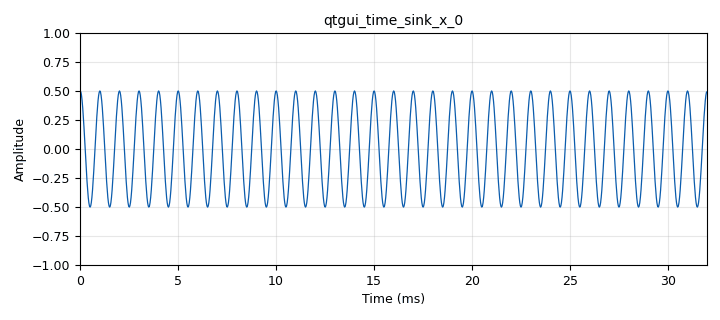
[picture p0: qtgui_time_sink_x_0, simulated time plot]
options:
  parameters:
    author: funki
    generate_options: qt_gui
    id: simple_demo
    output_language: python
    title: This is the window Name
  states: {}

blocks:
- name: freq
  id: variable
  parameters:
    value: '1000'
  states: {state: disabled}
- name: samp_rate
  id: variable
  parameters:
    value: '32000'
  states: {}
- name: analog_sig_source_x_0
  id: analog_sig_source_x
  parameters:
    amp: parameter_amp
    freq: '1000'
    offset: '0'
    phase: '0'
    samp_rate: samp_rate
    type: float
    waveform: analog.GR_COS_WAVE
  states: {}
- name: parameter_amp
  id: parameter
  parameters:
    comment: |-
      Running via terminal
      python3 simple_demo.py


      With parameters
      python3 simple_demo.py --parameter-amp 1.0
    type: eng_float
    value: '.5'
  states: {}
- name: qtgui_time_sink_x_0
  id: qtgui_time_sink_x
  parameters:
    size: '1024'
    srate: samp_rate
    type: float
  states: {}

connections:
- [analog_sig_source_x_0, '0', qtgui_time_sink_x_0, '0']

metadata:
  file_format: 1
